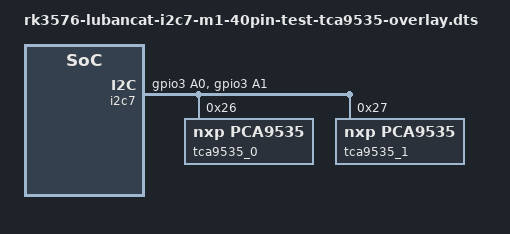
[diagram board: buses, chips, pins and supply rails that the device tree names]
/dts-v1/;
/plugin/;

#include <dt-bindings/gpio/gpio.h>
#include <dt-bindings/pinctrl/rockchip.h>
#include <dt-bindings/interrupt-controller/irq.h>

/ {
	fragment@0 {
		target = <&i2c7>;

		__overlay__ {
			status = "okay";
			pinctrl-names = "default";
			pinctrl-0 = <&i2c7m1_xfer_drv_level_2>;
			#address-cells = <1>;
			#size-cells = <0>;

			tca9535_0: tca9535-0@26 {
				compatible = "nxp,pca9535";
				reg = <0x26>;
				gpio-controller;
				#gpio-cells = <2>;
			};

			tca9535_1: tca9535-1@27 {
				compatible = "nxp,pca9535";
				reg = <0x27>;
				gpio-controller;
				#gpio-cells = <2>;
			};
		};
	};

	fragment@1 {
		target = <&pinctrl>;

		__overlay__ {
		i2c7-drv-level-2 {
			i2c7m1_xfer_drv_level_2: i2c7m1-xfer-drv-level_2 {
				rockchip,pins =
					/* i2c7_scl_m1 */
					<3 RK_PA0 11 &pcfg_pull_none_drv_level_2_smt>,
					/* i2c7_sda_m1 */
					<3 RK_PA1 11 &pcfg_pull_none_drv_level_2_smt>;
				};
			};
		};
	};
};
